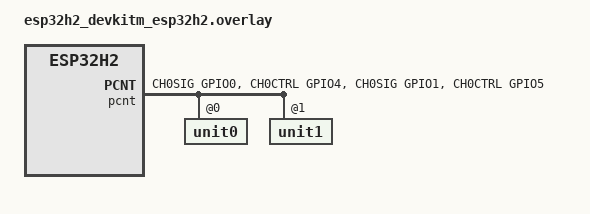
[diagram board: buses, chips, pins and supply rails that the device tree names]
/*
 * SPDX-License-Identifier: Apache-2.0
 *
 * Copyright (c) 2026 Espressif Systems (Shanghai) Co., Ltd.
 *
 * H2 PCNT input matrix only reaches GPIOs 0-5, 8-14, 22-27.
 */

&pinctrl {
	pcnt_default: pcnt_default {
		group1 {
			pinmux = <PCNT0_CH0SIG_GPIO0>,
				 <PCNT0_CH0CTRL_GPIO4>,
				 <PCNT1_CH0SIG_GPIO1>,
				 <PCNT1_CH0CTRL_GPIO5>;
			bias-pull-up;
		};
	};
};

&pcnt {
	pinctrl-0 = <&pcnt_default>;
	pinctrl-names = "default";
	status = "okay";
	#address-cells = <1>;
	#size-cells = <0>;

	unit0@0 {
		reg = <0>;
		#address-cells = <1>;
		#size-cells = <0>;
		filter = <100>;
		counts-per-revolution = <400>;

		channelA@0 {
			reg = <0>;
			sig-pos-mode = <1>;
			sig-neg-mode = <0>;
			ctrl-h-mode = <0>;
			ctrl-l-mode = <0>;
		};
	};

	unit1@1 {
		reg = <1>;
		#address-cells = <1>;
		#size-cells = <0>;
		filter = <100>;
		counts-per-revolution = <400>;

		channelA@0 {
			reg = <0>;
			sig-pos-mode = <1>;
			sig-neg-mode = <0>;
			ctrl-h-mode = <0>;
			ctrl-l-mode = <0>;
		};
	};
};
